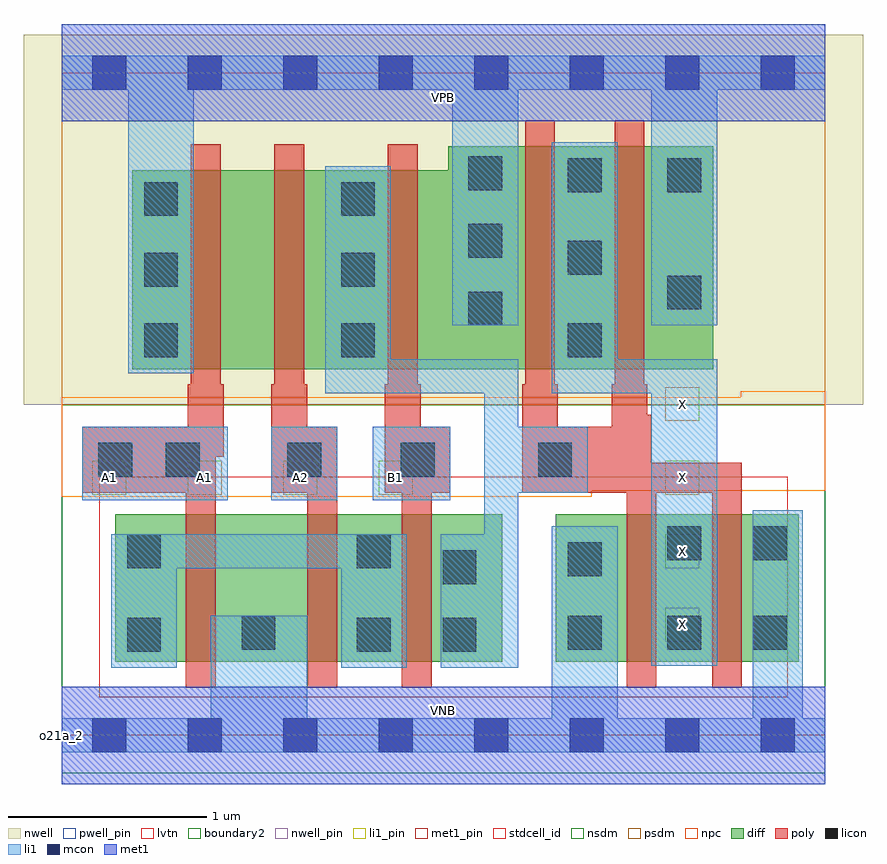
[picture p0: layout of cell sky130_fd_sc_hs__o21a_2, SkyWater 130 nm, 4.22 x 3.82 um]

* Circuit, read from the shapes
.subckt sky130_fd_sc_hs__o21a_2 A1 A2 B1 VGND VNB VPB VPWR X
XM1 VGND A1 n1 VNB sky130_fd_pr__nfet_01v8_lvt w=0.74 l=0.15
XM2 n1 A2 VGND VNB sky130_fd_pr__nfet_01v8_lvt w=0.74 l=0.15
XM3 n2 B1 n1 VNB sky130_fd_pr__nfet_01v8_lvt w=0.74 l=0.15
XM4 X n2 VGND VNB sky130_fd_pr__nfet_01v8_lvt w=0.74 l=0.15 m=2
XM5 n3 A1 VPWR VPB sky130_fd_pr__pfet_01v8 w=1 l=0.15
XM6 n2 A2 n3 VPB sky130_fd_pr__pfet_01v8 w=1 l=0.15
XM7 VPWR B1 n2 VPB sky130_fd_pr__pfet_01v8 w=1 l=0.15
XM8 X n2 VPWR VPB sky130_fd_pr__pfet_01v8 w=1.12 l=0.15 m=2
.ends

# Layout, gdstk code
import gdstk
lib = gdstk.Library(unit=1e-6, precision=1e-09)
def R(c, l, rs):  # rectangles x0, y0, x1, y1
    for r in rs: c.add(gdstk.rectangle(r[:2], r[2:], *l))
def A(c, l, x, y, w, h, nx, ny, dx, dy):  # array of equal rectangles
    R(c, l, [(x+i*dx, y+j*dy, x+i*dx+w, y+j*dy+h) for i in range(nx) for j in range(ny)])
def P(c, l, *ps):  # polygons
    for p in ps: c.add(gdstk.Polygon(p, *l))
nwell_pin = (64, 16)
nwell = (64, 20)
diff = (65, 20)
poly = (66, 20)
licon = (66, 44)
li1_pin = (67, 16)
li1 = (67, 20)
mcon = (67, 44)
met1_pin = (68, 16)
met1 = (68, 20)
stdcell_id = (81, 4)
nsdm = (93, 44)
psdm = (94, 20)
npc = (95, 20)
pwell_pin = (122, 16)
lvtn = (125, 44)
boundary2 = (236, 0)

sky130_fd_sc_hs__o21a_2 = lib.new_cell('sky130_fd_sc_hs__o21a_2')
R(sky130_fd_sc_hs__o21a_2, nwell_pin, [(0,3.085,3.84,3.33)])
R(sky130_fd_sc_hs__o21a_2, nwell, [(-0.19,1.66,4.03,3.52)])
R(sky130_fd_sc_hs__o21a_2, diff, [(0.27,0.37,2.215,1.11), (2.485,0.37,3.705,1.11)])
P(sky130_fd_sc_hs__o21a_2, diff, [(3.275,2.96),(1.945,2.96),(1.945,2.84),(0.355,2.84),(0.355,1.84),(3.275,1.84)])
P(sky130_fd_sc_hs__o21a_2, poly, [(0.815,1.765),(0.8,1.765),(0.8,2.97),(0.65,2.97),(0.65,1.765),(0.635,1.765),(0.635,1.55),(0.105,1.55),(0.105,1.22),(0.625,1.22),(0.625,0.24),(0.775,0.24),(0.775,1.4),(0.815,1.4)],
  [(1.385,1.55),(1.235,1.55),(1.235,1.765),(1.22,1.765),(1.22,2.97),(1.07,2.97),(1.07,1.765),(1.055,1.765),(1.055,1.22),(1.235,1.22),(1.235,0.24),(1.385,0.24)],
  [(1.955,1.55),(1.805,1.55),(1.805,1.765),(1.79,1.765),(1.79,2.97),(1.64,2.97),(1.64,1.765),(1.625,1.765),(1.625,1.22),(1.71,1.22),(1.71,0.24),(1.86,0.24),(1.86,1.22),(1.955,1.22)],
  [(3.42,1.37),(2.965,1.37),(2.965,1.61),(2.945,1.61),(2.945,1.765),(2.93,1.765),(2.93,3.09),(2.78,3.09),(2.78,1.765),(2.765,1.765),(2.765,1.55),(2.495,1.55),(2.495,1.765),(2.48,1.765),(2.48,3.09),(2.33,3.09),(2.33,1.765),(2.315,1.765),(2.315,1.22),(2.84,1.22),(2.84,0.24),(2.99,0.24),(2.99,1.22),(3.27,1.22),(3.27,0.24),(3.42,0.24)])
A(sky130_fd_sc_hs__o21a_2, licon, 0.415, 1.9, 0.17, 0.17, 1, 3, 0, 0.355)
A(sky130_fd_sc_hs__o21a_2, licon, 1.405, 1.9, 0.17, 0.17, 1, 3, 0, 0.355)
A(sky130_fd_sc_hs__o21a_2, licon, 2.545, 1.9, 0.17, 0.17, 1, 3, 0, 0.415)
A(sky130_fd_sc_hs__o21a_2, licon, 2.045, 2.06, 0.17, 0.17, 1, 3, 0, 0.34)
R(sky130_fd_sc_hs__o21a_2, licon, [(0.33,0.42,0.5,0.59), (1.485,0.42,1.655,0.59), (1.915,0.42,2.085,0.59), (0.905,0.43,1.075,0.6), (2.545,0.43,2.715,0.6), (3.045,0.43,3.215,0.6), (3.475,0.43,3.645,0.6), (1.915,0.76,2.085,0.93), (2.545,0.8,2.715,0.97), (0.33,0.84,0.5,1.01), (1.485,0.84,1.655,1.01), (3.045,0.88,3.215,1.05), (3.475,0.88,3.645,1.05), (0.185,1.3,0.355,1.47), (0.525,1.3,0.695,1.47), (1.135,1.3,1.305,1.47), (1.705,1.3,1.875,1.47), (2.395,1.3,2.565,1.47), (3.045,2.14,3.215,2.31), (3.045,2.73,3.215,2.9)])
A(sky130_fd_sc_hs__o21a_2, li1_pin, 3.035, 0.47, 0.17, 0.17, 1, 4, 0, 0.37)
A(sky130_fd_sc_hs__o21a_2, li1_pin, 0.155, 1.21, 0.17, 0.17, 4, 1, 0.48, 0)
R(sky130_fd_sc_hs__o21a_2, li1, [(0.105,1.18,0.835,1.55), (1.055,1.18,1.385,1.55), (1.565,1.18,1.955,1.55)])
P(sky130_fd_sc_hs__o21a_2, li1, [(0,-0.085),(0,0.085),(0.75,0.085),(0.75,0.6),(1.235,0.6),(1.235,0.085),(2.465,0.085),(2.465,1.05),(2.795,1.05),(2.795,0.085),(3.475,0.085),(3.475,1.13),(3.725,1.13),(3.725,0.085),(3.84,0.085),(3.84,-0.085)],
  [(0,3.245),(0,3.415),(3.84,3.415),(3.84,3.245),(3.295,3.245),(3.295,2.06),(2.965,2.06),(2.965,3.245),(2.295,3.245),(2.295,2.06),(1.965,2.06),(1.965,3.245),(0.665,3.245),(0.665,1.82),(0.335,1.82),(0.335,3.245)],
  [(2.965,0.35),(2.965,1.72),(2.465,1.72),(2.465,2.98),(2.795,2.98),(2.795,1.89),(3.295,1.89),(3.295,0.35)],
  [(1.905,0.34),(1.905,1.01),(2.125,1.01),(2.125,1.72),(1.325,1.72),(1.325,2.86),(1.655,2.86),(1.655,1.89),(2.295,1.89),(2.295,1.55),(2.645,1.55),(2.645,1.22),(2.295,1.22),(2.295,0.34)],
  [(1.735,1.01),(1.735,0.34),(1.405,0.34),(1.405,0.84),(0.58,0.84),(0.58,0.34),(0.25,0.34),(0.25,1.01)])
A(sky130_fd_sc_hs__o21a_2, mcon, 0.155, -0.085, 0.17, 0.17, 8, 2, 0.48, 3.33)
R(sky130_fd_sc_hs__o21a_2, met1_pin, [(0,0,3.84,0.245), (0,3.085,3.84,3.33)])
R(sky130_fd_sc_hs__o21a_2, met1, [(0,-0.245,3.84,0.245), (0,3.085,3.84,3.575)])
R(sky130_fd_sc_hs__o21a_2, stdcell_id, [(0,0,3.84,3.33)])
R(sky130_fd_sc_hs__o21a_2, nsdm, [(0,-0.19,3.84,1.66)])
R(sky130_fd_sc_hs__o21a_2, psdm, [(0,1.66,3.84,3.52)])
P(sky130_fd_sc_hs__o21a_2, npc, [(3.84,1.73),(3.415,1.73),(3.415,1.7),(0,1.7),(0,1.2),(2.665,1.2),(2.665,1.23),(3.84,1.23)])
R(sky130_fd_sc_hs__o21a_2, pwell_pin, [(0,0,3.84,0.245)])
R(sky130_fd_sc_hs__o21a_2, lvtn, [(0.19,0.19,3.65,1.3)])
R(sky130_fd_sc_hs__o21a_2, boundary2, [(0,0,3.84,3.33)])
sky130_fd_sc_hs__o21a_2.add(gdstk.Label('o21a_2', (0,0), layer=83, texttype=44))
sky130_fd_sc_hs__o21a_2.add(gdstk.Label('VNB', (1.92,0.123), layer=64, texttype=59))
sky130_fd_sc_hs__o21a_2.add(gdstk.Label('VPB', (1.92,3.208), layer=64, texttype=5))
sky130_fd_sc_hs__o21a_2.add(gdstk.Label('VPWR', (1.92,3.208), layer=68, texttype=5))
sky130_fd_sc_hs__o21a_2.add(gdstk.Label('VGND', (1.92,0.123), layer=68, texttype=5))
sky130_fd_sc_hs__o21a_2.add(gdstk.Label('A1', (0.24,1.295), layer=67, texttype=5))
sky130_fd_sc_hs__o21a_2.add(gdstk.Label('A1', (0.72,1.295), layer=67, texttype=5))
sky130_fd_sc_hs__o21a_2.add(gdstk.Label('A2', (1.2,1.295), layer=67, texttype=5))
sky130_fd_sc_hs__o21a_2.add(gdstk.Label('B1', (1.68,1.295), layer=67, texttype=5))
sky130_fd_sc_hs__o21a_2.add(gdstk.Label('X', (3.12,0.555), layer=67, texttype=5))
sky130_fd_sc_hs__o21a_2.add(gdstk.Label('X', (3.12,0.925), layer=67, texttype=5))
sky130_fd_sc_hs__o21a_2.add(gdstk.Label('X', (3.12,1.295), layer=67, texttype=5))
sky130_fd_sc_hs__o21a_2.add(gdstk.Label('X', (3.12,1.665), layer=67, texttype=5))

lib.write_gds('sky130_fd_sc_hs__o21a_2.gds')
